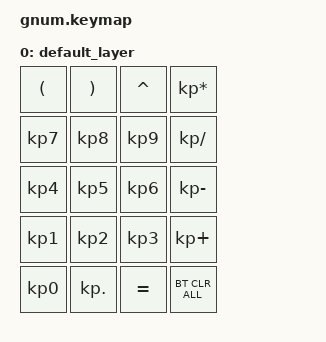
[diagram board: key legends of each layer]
#include <behaviors.dtsi>
#include <dt-bindings/zmk/keys.h>
#include <dt-bindings/zmk/bt.h>
#include <dt-bindings/zmk/mouse.h>

/{
    keymap {
        compatible = "zmk,keymap";

        default_layer{
            bindings = <
                &kp LPAR       &kp RPAR       &kp CARET      &kp KP_MULTIPLY 
                &kp KP_N7      &kp KP_N8      &kp KP_N9      &kp KP_DIVIDE  
                &kp KP_N4      &kp KP_N5      &kp KP_N6      &kp KP_MINUS  
                &kp KP_N1      &kp KP_N2      &kp KP_N3      &kp KP_PLUS   
                &kp KP_N0      &kp KP_DOT     &kp EQUAL      &bt BT_CLR_ALL
            >;
        };
    };
};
